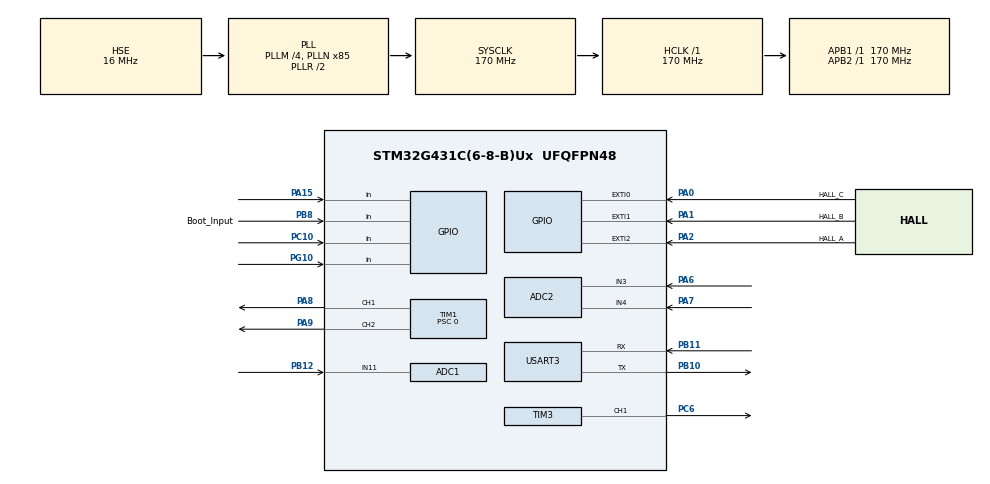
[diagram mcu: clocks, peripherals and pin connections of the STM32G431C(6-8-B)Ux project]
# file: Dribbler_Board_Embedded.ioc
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ADC1.Channel-1\#ChannelRegularConversion=ADC_CHANNEL_11
ADC1.ContinuousConvMode=ENABLE
ADC1.NbrOfConversionFlag=1
ADC1.OffsetNumber-1\#ChannelRegularConversion=ADC_OFFSET_NONE
ADC1.Rank-1\#ChannelRegularConversion=1
ADC1.SamplingTime-1\#ChannelRegularConversion=ADC_SAMPLETIME_2CYCLES_5
ADC1.master=1
ADC2.Channel-3\#ChannelRegularConversion=ADC_CHANNEL_3
ADC2.ContinuousConvMode=DISABLE
ADC2.EOCSelection=ADC_EOC_SINGLE_CONV
ADC2.EnableInjectedConversion=ENABLE
ADC2.EnableRegularConversion=ENABLE
ADC2.ExternalTrigConv=ADC_EXTERNALTRIG_T1_TRGO2
ADC2.ExternalTrigInjecConv=ADC_EXTERNALTRIGINJEC_T1_TRGO2
ADC2.InjNumberOfConversion=2
ADC2.InjectedChannel-1\#ChannelInjectedConversion=ADC_CHANNEL_3
ADC2.InjectedChannel-2\#ChannelInjectedConversion=ADC_CHANNEL_4
ADC2.InjectedOffsetNumber-1\#ChannelInjectedConversion=ADC_OFFSET_NONE
ADC2.InjectedOffsetNumber-2\#ChannelInjectedConversion=ADC_OFFSET_NONE
ADC2.InjectedRank-1\#ChannelInjectedConversion=1
ADC2.InjectedRank-2\#ChannelInjectedConversion=2
ADC2.InjectedSamplingTime-1\#ChannelInjectedConversion=ADC_SAMPLETIME_92CYCLES_5
ADC2.InjectedSamplingTime-2\#ChannelInjectedConversion=ADC_SAMPLETIME_92CYCLES_5
ADC2.NbrOfConversionFlag=1
ADC2.OffsetNumber-3\#ChannelRegularConversion=ADC_OFFSET_NONE
ADC2.Rank-3\#ChannelRegularConversion=1
ADC2.Rank1_Channel=ADC_CHANNEL_3
ADC2.Rank2_Channel=ADC_CHANNEL_4
ADC2.SamplingTime-3\#ChannelRegularConversion=ADC_SAMPLETIME_2CYCLES_5
Mcu.Family=STM32G4
Mcu.Name=STM32G431C(6-8-B)Ux
Mcu.Package=UFQFPN48
NVIC.ADC1_2_IRQn=true\:0\:0\:false\:false\:true\:true\:true\:true
NVIC.EXTI0_IRQn=true\:0\:0\:false\:false\:true\:true\:true\:true
NVIC.EXTI1_IRQn=true\:0\:0\:false\:false\:true\:true\:true\:true
NVIC.EXTI2_IRQn=true\:0\:0\:false\:false\:true\:true\:true\:true
NVIC.PriorityGroup=NVIC_PRIORITYGROUP_4
NVIC.TIM1_UP_TIM16_IRQn=true\:0\:0\:false\:false\:true\:true\:true\:true
NVIC.TIM6_DAC_IRQn=true\:2\:0\:true\:false\:true\:true\:true\:true
PA0.GPIO_Label=HALL_C
PA0.GPIO_ModeDefaultEXTI=GPIO_MODE_IT_RISING_FALLING
PA0.GPIO_PuPd=GPIO_PULLUP
PA0.Signal=GPXTI0
PA1.GPIO_Label=HALL_B
PA1.GPIO_ModeDefaultEXTI=GPIO_MODE_IT_RISING_FALLING
PA1.GPIO_PuPd=GPIO_PULLUP
PA1.Signal=GPXTI1
PA13.Mode=Serial_Wire
PA13.Signal=SYS_JTMS-SWDIO
PA14.Mode=Serial_Wire
PA14.Signal=SYS_JTCK-SWCLK
PA15.Signal=GPIO_Input
PA2.GPIO_Label=HALL_A
PA2.GPIO_ModeDefaultEXTI=GPIO_MODE_IT_RISING_FALLING
PA2.GPIO_PuPd=GPIO_PULLUP
PA2.Signal=GPXTI2
PA6.Mode=IN3-Single-Ended
PA6.Signal=ADC2_IN3
PA7.Mode=IN4-Single-Ended
PA7.Signal=ADC2_IN4
PA8.Signal=S_TIM1_CH1
PA9.Signal=S_TIM1_CH2
PB10.Mode=Asynchronous
PB10.Signal=USART3_TX
PB11.Mode=Asynchronous
PB11.Signal=USART3_RX
PB12.Mode=IN11-Single-Ended
PB12.Signal=ADC1_IN11
PB8-BOOT0.GPIO_Label=Boot_Input
PB8-BOOT0.Signal=GPIO_Input
PC10.Signal=GPIO_Input
PC6.Signal=S_TIM3_CH1
PF0-OSC_IN.Mode=HSE-External-Oscillator
PF0-OSC_IN.Signal=RCC_OSC_IN
PF1-OSC_OUT.Mode=HSE-External-Oscillator
PF1-OSC_OUT.Signal=RCC_OSC_OUT
PG10-NRST.Signal=GPIO_Input
ProjectManager.HeapSize=0x200
ProjectManager.StackSize=0x400
ProjectManager.TargetToolchain=Makefile
RCC.ADC12Freq_Value=170000000
RCC.AHBFreq_Value=170000000
RCC.APB1Freq_Value=170000000
RCC.APB1TimFreq_Value=170000000
RCC.APB2Freq_Value=170000000
RCC.APB2TimFreq_Value=170000000
RCC.CortexFreq_Value=170000000
RCC.EXTERNAL_CLOCK_VALUE=12288000
RCC.HCLKFreq_Value=170000000
RCC.HSE_VALUE=16000000
RCC.HSI48_VALUE=48000000
RCC.HSI_VALUE=16000000
RCC.LSE_VALUE=32768
RCC.PLLM=RCC_PLLM_DIV4
RCC.PLLN=85
RCC.PLLSourceVirtual=RCC_PLLSOURCE_HSE
RCC.SYSCLKFreq_VALUE=170000000
RCC.SYSCLKSource=RCC_SYSCLKSOURCE_PLLCLK
RCC.USBFreq_Value=170000000
RCC.VCOOutputFreq_Value=340000000
SH.S_TIM1_CH1.0=TIM1_CH1,PWM Generation1 CH1
SH.S_TIM1_CH2.0=TIM1_CH2,PWM Generation2 CH2
SH.S_TIM3_CH1.0=TIM3_CH1,PWM Generation1 CH1
TIM1.AutoReloadPreload=TIM_AUTORELOAD_PRELOAD_ENABLE
TIM1.Channel-PWM\ Generation1\ CH1=TIM_CHANNEL_1
TIM1.Channel-PWM\ Generation2\ CH2=TIM_CHANNEL_2
TIM1.CounterMode=TIM_COUNTERMODE_CENTERALIGNED1
TIM1.PeriodNoDither=2125
TIM1.Prescaler=0
TIM1.TIM_MasterOutputTrigger=TIM_TRGO_UPDATE
TIM1.TIM_MasterOutputTrigger2=TIM_TRGO2_UPDATE
TIM1.TIM_MasterSlaveMode=TIM_MASTERSLAVEMODE_DISABLE
TIM3.AutoReloadPreload=TIM_AUTORELOAD_PRELOAD_DISABLE
TIM3.Channel-PWM\ Generation1\ CH1=TIM_CHANNEL_1
TIM3.CounterMode=TIM_COUNTERMODE_CENTERALIGNED1
TIM3.PeriodNoDither=8500
TIM6.AutoReloadPreload=TIM_AUTORELOAD_PRELOAD_ENABLE
TIM6.PeriodNoDither=999
TIM6.Prescaler=169
TIM6.TIM_MasterOutputTrigger=TIM_TRGO_UPDATE
USART3.VirtualMode-Asynchronous=VM_ASYNC
VP_SYS_VS_DBSignals.Mode=DisableDeadBatterySignals
VP_TIM1_VS_ClockSourceINT.Mode=Internal
VP_TIM3_VS_ClockSourceINT.Mode=Internal
VP_TIM3_VS_ClockSourceITR.Mode=TriggerSource_ITR7
VP_TIM3_VS_ControllerModeTrigger.Mode=Trigger Mode
VP_TIM6_VS_ClockSourceINT.Mode=Enable_Timer
board=custom

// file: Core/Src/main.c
/* USER CODE BEGIN Header */
/**
  ******************************************************************************
  * @file           : main.c
  * @brief          : Main program body
  ******************************************************************************
  * @attention
  *
  * Copyright (c) 2025 STMicroelectronics.
  * All rights reserved.
  *
  * This software is licensed under terms that can be found in the LICENSE file
  * in the root directory of this software component.
  * If no LICENSE file comes with this software, it is provided AS-IS.
  *
  ******************************************************************************
  */
/* USER CODE END Header */
#include "main.h"
#include "adc.h"
#include "tim.h"
#include "usart.h"
#include "gpio.h"

/* USER CODE BEGIN Includes */
#include "controller/motor.h"

/* USER CODE END Includes */

/* USER CODE BEGIN PV */
volatile uint8_t g_dbg_motor_start = 0u;
volatile uint8_t g_dbg_daxis_lock = 0u;
volatile uint8_t g_dbg_pa = 0u;
volatile uint8_t g_dbg_pb = 0u;
volatile uint8_t g_dbg_pc = 0u;
/* USER CODE END PV */

void SystemClock_Config(void);

int main(void)
{

  /* MCU Configuration--------------------------------------------------------*/

  /* Reset of all peripherals, Initializes the Flash interface and the Systick. */
  HAL_Init();

  /* Configure the system clock */
  SystemClock_Config();

  /* Initialize all configured peripherals */
  MX_GPIO_Init();
  MX_ADC2_Init();
  MX_USART3_UART_Init();
  MX_TIM1_Init();
  MX_TIM6_Init();
  MX_ADC1_Init();
  MX_TIM3_Init();
  /* USER CODE BEGIN 2 */

#if 0
  HAL_TIM_PWM_Stop(&htim1, TIM_CHANNEL_1);
  HAL_TIM_PWM_Stop(&htim1, TIM_CHANNEL_2);
  HAL_TIM_PWM_Stop(&htim3, TIM_CHANNEL_1);
  __HAL_TIM_MOE_DISABLE_UNCONDITIONALLY(&htim1);

  GPIO_InitTypeDef g = {0};
  g.Mode = GPIO_MODE_OUTPUT_PP;
  g.Pull = GPIO_NOPULL;
  g.Speed = GPIO_SPEED_FREQ_LOW;

  g.Pin = GPIO_PIN_8;  /* Phase A */
  HAL_GPIO_Init(GPIOA, &g);
  g.Pin = GPIO_PIN_9;  /* Phase B */
  HAL_GPIO_Init(GPIOA, &g);
  g.Pin = GPIO_PIN_6;  /* Phase C */
  HAL_GPIO_Init(GPIOC, &g);

  HAL_GPIO_WritePin(GPIOA, GPIO_PIN_8, GPIO_PIN_RESET);
  HAL_GPIO_WritePin(GPIOA, GPIO_PIN_9, GPIO_PIN_RESET);
  HAL_GPIO_WritePin(GPIOC, GPIO_PIN_6, GPIO_PIN_RESET);

  while (1) {
      HAL_GPIO_WritePin(GPIOA, GPIO_PIN_8, g_dbg_pa ? GPIO_PIN_SET : GPIO_PIN_RESET);
      HAL_GPIO_WritePin(GPIOA, GPIO_PIN_9, g_dbg_pb ? GPIO_PIN_SET : GPIO_PIN_RESET);
      HAL_GPIO_WritePin(GPIOC, GPIO_PIN_6, g_dbg_pc ? GPIO_PIN_SET : GPIO_PIN_RESET);
  }
#endif

  motor_init(motor(0));

  /* USER CODE END 2 */

  /* Infinite loop */
  while (1)
  {

    /* USER CODE BEGIN 3 */
    if (g_dbg_motor_start == 0u && motor(0)->b_start) {
        motor_stop(motor(0));
    }
    if (g_dbg_motor_start == 1u && !motor(0)->b_start) {
        motor_start(motor(0), CTRL_MODE_OPEN);
    }
    g_openloop_daxis_lock_dbg = (g_dbg_daxis_lock != 0u) ? 1u : 0u;
  }
  /* USER CODE END 3 */
}

void SystemClock_Config(void)
{
  RCC_OscInitTypeDef RCC_OscInitStruct = {0};
  RCC_ClkInitTypeDef RCC_ClkInitStruct = {0};

  /** Configure the main internal regulator output voltage
  */
  HAL_PWREx_ControlVoltageScaling(PWR_REGULATOR_VOLTAGE_SCALE1_BOOST);

  /** Initializes the RCC Oscillators according to the specified parameters
  * in the RCC_OscInitTypeDef structure.
  */
  RCC_OscInitStruct.OscillatorType = RCC_OSCILLATORTYPE_HSE;
  RCC_OscInitStruct.HSEState = RCC_HSE_ON;
  RCC_OscInitStruct.PLL.PLLState = RCC_PLL_ON;
  RCC_OscInitStruct.PLL.PLLSource = RCC_PLLSOURCE_HSE;
  RCC_OscInitStruct.PLL.PLLM = RCC_PLLM_DIV4;
  RCC_OscInitStruct.PLL.PLLN = 85;
  RCC_OscInitStruct.PLL.PLLP = RCC_PLLP_DIV2;
  RCC_OscInitStruct.PLL.PLLQ = RCC_PLLQ_DIV2;
  RCC_OscInitStruct.PLL.PLLR = RCC_PLLR_DIV2;
  if (HAL_RCC_OscConfig(&RCC_OscInitStruct) != HAL_OK)
  {
    Error_Handler();
  }

  /** Initializes the CPU, AHB and APB buses clocks
  */
  RCC_ClkInitStruct.ClockType = RCC_CLOCKTYPE_HCLK|RCC_CLOCKTYPE_SYSCLK
                              |RCC_CLOCKTYPE_PCLK1|RCC_CLOCKTYPE_PCLK2;
  RCC_ClkInitStruct.SYSCLKSource = RCC_SYSCLKSOURCE_PLLCLK;
  RCC_ClkInitStruct.AHBCLKDivider = RCC_SYSCLK_DIV1;
  RCC_ClkInitStruct.APB1CLKDivider = RCC_HCLK_DIV1;
  RCC_ClkInitStruct.APB2CLKDivider = RCC_HCLK_DIV1;

  if (HAL_RCC_ClockConfig(&RCC_ClkInitStruct, FLASH_LATENCY_4) != HAL_OK)
  {
    Error_Handler();
  }
}

void Error_Handler(void)
{
  __disable_irq();
  while (1)
  {
  }
}
